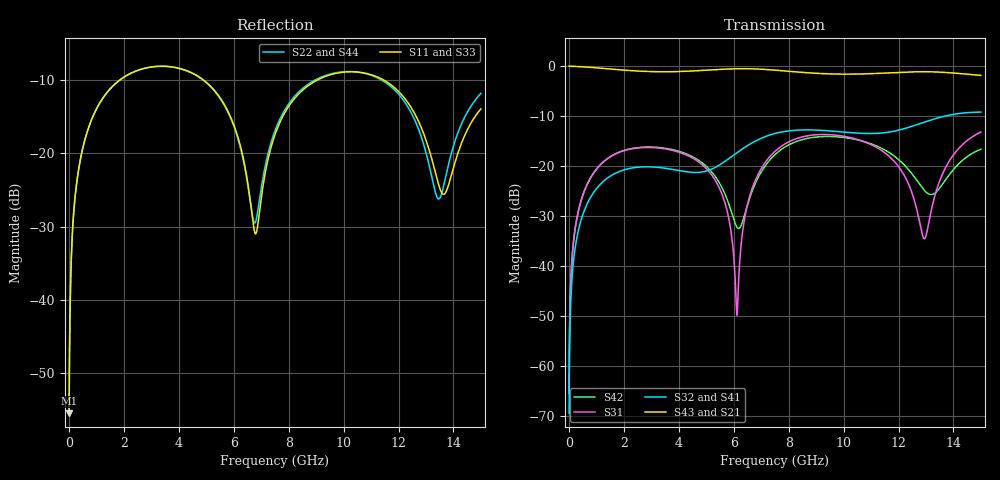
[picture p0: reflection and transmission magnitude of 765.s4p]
! Created with skrf 1.8.0 (http://scikit-rf.org).
# GHz S RI R 50.0
!freq ReS11 ImS11 ReS12 ImS12 ReS13 ImS13
! ReS14 ImS14
! ReS21 ImS21 ReS22 ImS22 ReS23 ImS23
! ReS24 ImS24
! ReS31 ImS31 ReS32 ImS32 ReS33 ImS33
! ReS34 ImS34
! ReS41 ImS41 ReS42 ImS42 ReS43 ImS43
! ReS44 ImS44
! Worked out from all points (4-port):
!   2499 points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, 5 MHz to 15 GHz, reference 50 ohm
!   strongest paths, dB at 5 MHz, 3.476 GHz, 7.19 GHz, 11.1 GHz, 15 GHz:
!     S43: 0.0, -1.1, -0.7, -1.5, -1.9
!     S21: 0.0, -1.1, -0.7, -1.5, -1.8
!     S32: -69.6, -20.4, -14.0, -13.5, -9.2
!     S41: -69.6, -20.4, -14.0, -13.5, -9.2
!     S31: -65.6, -16.6, -19.0, -16.0, -13.2
!     S42: -65.6, -16.4, -19.6, -15.8, -16.6
!   lowest |S11| = -55.6 dB at 5 MHz (marker M1), VSWR 1.00, Z = 50.1 + j0.101 ohm
!   |S11| at or under -10 dB: start of sweep to 1.834 GHz; 4.915 GHz to 9.02 GHz (4.105 GHz wide, 58.9 % of centre); 11.48 GHz to end of sweep
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0.005  0.00133 0.00101  0.9986 -0.00259  6.56e-05 0.000521  -6.38e-05 -0.000327
       0.9986 -0.00259  0.00133 0.00101  -6.38e-05 -0.000327  6.56e-05 0.000521
       6.56e-05 0.000521  -6.38e-05 -0.000327  0.00133 0.00101  0.9986 -0.00259
       -6.38e-05 -0.000327  6.56e-05 0.000521  0.9986 -0.00259  0.00133 0.00101
0.3626511  0.021 0.0773  0.9711 -0.1867  0.00955 0.0361  -0.00802 -0.0225
           0.9711 -0.1867  0.021 0.0773  -0.00802 -0.0225  0.00972 0.0361
           0.00955 0.0361  -0.00802 -0.0225  0.021 0.0772  0.9711 -0.1867
           -0.00802 -0.0225  0.00972 0.0361  0.9711 -0.1867  0.021 0.0772
1.875782  0.2636 0.1824  0.5646 -0.7222  0.1227 0.0641  -0.0884 -0.00866
          0.5646 -0.7222  0.2629 0.1828  -0.0884 -0.00868  0.1251 0.0609
          0.1227 0.0641  -0.0884 -0.00868  0.2635 0.1824  0.5646 -0.7223
          -0.0884 -0.00866  0.1251 0.0609  0.5646 -0.7223  0.2628 0.1828
6.115048  0.064 -0.1203  -0.871 -0.3561  0.00318 0.000337  -0.0468 0.1273
          -0.871 -0.3561  0.0671 -0.1148  -0.0474 0.1271  -0.0219 -0.0108
          0.00318 0.000337  -0.0474 0.1271  0.0624 -0.1196  -0.8713 -0.3558
          -0.0468 0.1273  -0.0219 -0.0108  -0.8713 -0.3558  0.0677 -0.1132
6.727803  0.0277 -0.0141  -0.9352 -0.0773  0.0155 0.0637  -0.00973 0.1735
          -0.9352 -0.0773  0.0331 -0.00835  -0.0105 0.1736  -0.0129 0.0599
          0.0155 0.0637  -0.0105 0.1736  0.0261 -0.0127  -0.9353 -0.0768
          -0.00973 0.1735  -0.0129 0.0599  -0.9353 -0.0768  0.0345 -0.00683
10.86078  0.3415 -0.0836  0.1296 0.8275  0.1411 -0.095  0.1878 -0.0968
          0.1296 0.8275  0.3377 -0.0896  0.1883 -0.096  0.1338 -0.1075
          0.1411 -0.095  0.1883 -0.096  0.3426 -0.0812  0.1288 0.8274
          0.1878 -0.0968  0.1338 -0.1075  0.1288 0.8274  0.3379 -0.0913
15  0.1609 0.1221  0.7036 -0.3989  0.2141 0.0438  -0.2133 -0.2718
    0.7036 -0.3989  0.2039 0.157  -0.2117 -0.2738  0.1041 0.1039
    0.2141 0.0438  -0.2117 -0.2738  0.1618 0.1278  0.703 -0.3977
    -0.2133 -0.2718  0.1041 0.1039  0.703 -0.3977  0.2081 0.1592
